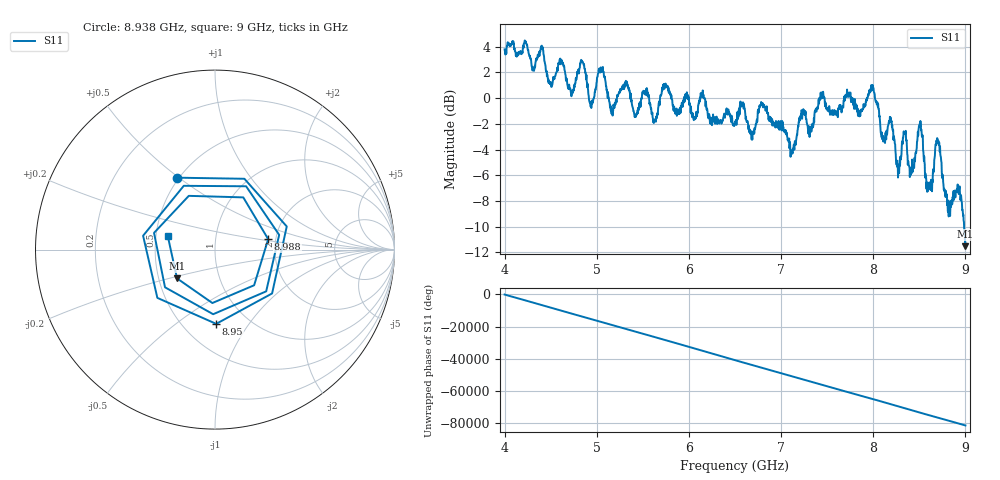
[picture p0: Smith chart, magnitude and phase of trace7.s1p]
! Created with skrf 1.8.0 (http://scikit-rf.org).
# Hz S RI R 50.0
!freq ReS11 ImS11
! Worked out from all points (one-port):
!   1601 points, 4 GHz to 9 GHz, reference 50 ohm
!   lowest |S11| = -11.5 dB at 8.997 GHz (marker M1), VSWR 1.72, Z = 31.1 - j10.7 ohm
!   |S11| at or under -10 dB: 8.985981 GHz to end of sweep
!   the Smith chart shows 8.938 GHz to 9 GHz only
!   S11 on the Smith chart (normalised r, x): 8.938 GHz: 0.49, +0.49; 8.95 GHz: 0.72, -0.71; 8.988 GHz: 1.82, +0.23; 9 GHz: 0.58, +0.10
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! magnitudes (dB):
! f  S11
! 4 GHz  3.8
! 4.4 GHz  4.0
! 4.497 GHz  1.1
! 4.625 GHz  2.8
! 4.728 GHz  0.4
! 4.847 GHz  2.8
! 4.941 GHz  -0.8
! 5.041 GHz  2.2
! 5.159 GHz  -1.2
! 5.25 GHz  0.6
! 5.875 GHz  -1.2
! 6.5 GHz  -2.1
! 6.803 GHz  -0.7
! 7.125 GHz  -4.3
! 7.434 GHz  0.0
! 7.75 GHz  0.4
! 7.991 GHz  0.6
! 8.103 GHz  -3.2
! 8.375 GHz  -5.2
! 8.509 GHz  -2.2
! 8.6 GHz  -6.9
! 8.7 GHz  -3.3
! 8.809 GHz  -8.8
! 8.938 GHz  -6.9
! 8.95 GHz  -7.7
! 8.988 GHz  -10.4
! 8.997 GHz  -11.5
! 9 GHz  -11.2
